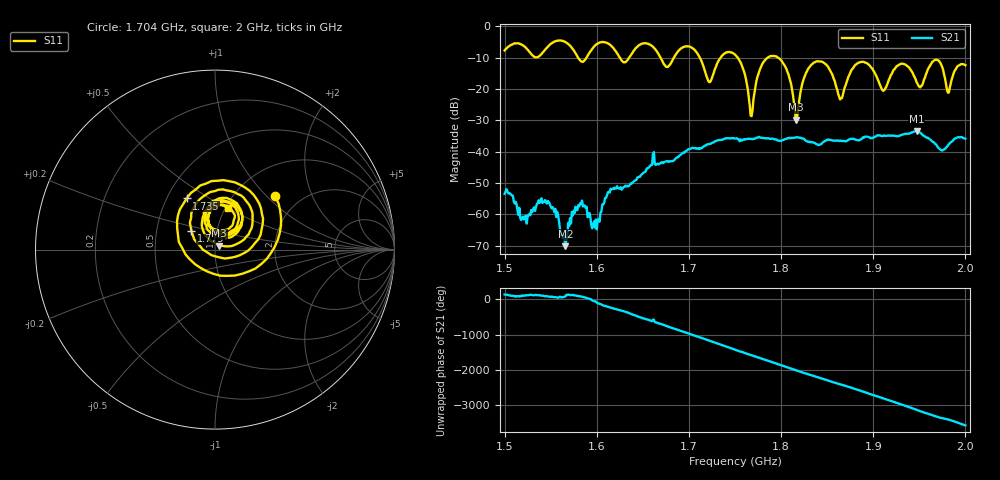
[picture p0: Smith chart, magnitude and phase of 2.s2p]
! NanoVNA-App by SYSJOINT et al v1.1.209 (+OD18)
! Date: 2026-01-21 14:45:24
! Start: 1,5GHz Stop: 2GHz Points: 501
! S-Parameter data: F S11 S21 S12 S22
# Hz S RI R 50
!  Frequency  S11_Real  S11_Imag  S21_Real  S21_Imag  S12_Real  S12_Imag  S22_Real  S22_Imag
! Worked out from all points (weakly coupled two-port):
!   501 points, 1.5 GHz to 2 GHz, reference 50 ohm
!   highest |S21| = -33.49 dB at 1.947 GHz (marker M1); lowest = -70.2 dB at 1.566 GHz (marker M2)
!   lowest |S11| = -29.8 dB at 1.816 GHz (marker M3), VSWR 1.07, Z = 52.4 + j2.34 ohm
!   |S11| at or under -10 dB: 1.712 GHz to 1.734 GHz (22.59 MHz wide, 1.31 % of centre); 1.753 GHz to 1.785 GHz (32.22 MHz wide, 1.82 % of centre); 1.797 GHz to end of sweep (the widest 3 of 6)
!   S12 and S22 are empty: the file has one direction only
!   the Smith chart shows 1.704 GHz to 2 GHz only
!   S11 on the Smith chart (normalised r, x): 1.704 GHz: 1.51, +1.12; 1.735 GHz: 0.63, +0.40; 1.775 GHz: 0.75, +0.16; 2 GHz: 1.03, +0.50
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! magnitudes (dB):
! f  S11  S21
! 1.5 GHz  -7.7  -53.5
! 1.519 GHz  -5.9  -61.1
! 1.547 GHz  -6.4  -55.7
! 1.566 GHz  -5.0  -70.2
! 1.584 GHz  -11.2  -55.6
! 1.598 GHz  -6.2  -64.2
! 1.614 GHz  -5.7  -53.1
! 1.667 GHz  -8.8  -44.1
! 1.704 GHz  -7.0  -38.7
! 1.722 GHz  -17.8  -37.6
! 1.735 GHz  -9.7  -36.2
! 1.75 GHz  -9.0  -35.8
! 1.767 GHz  -28.5  -35.9
! 1.775 GHz  -15.6  -35.5
! 1.799 GHz  -10.5  -36.6
! 1.816 GHz  -29.8  -35.5
! 1.834 GHz  -12.0  -37.0
! 1.865 GHz  -22.9  -36.5
! 1.885 GHz  -11.5  -36.4
! 1.917 GHz  -17.0  -34.8
! 1.947 GHz  -17.8  -33.5
! 2 GHz  -12.4  -35.8
